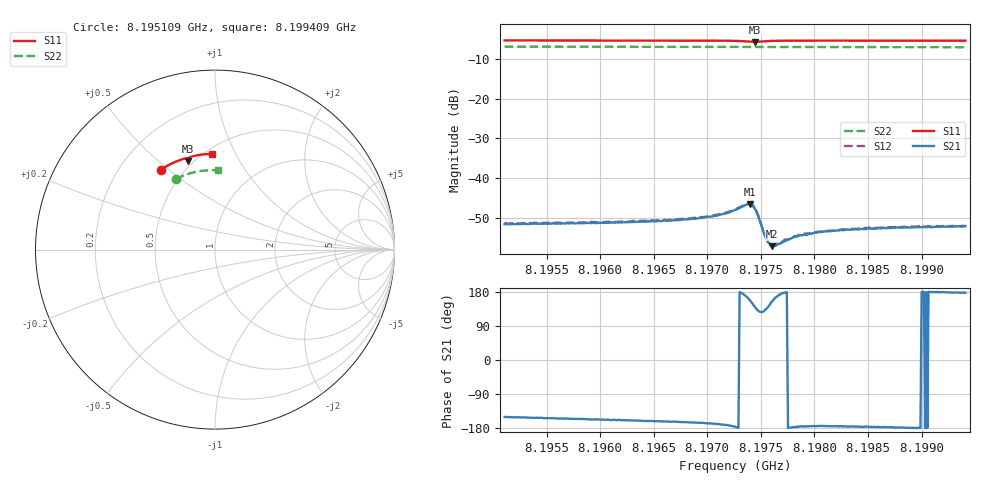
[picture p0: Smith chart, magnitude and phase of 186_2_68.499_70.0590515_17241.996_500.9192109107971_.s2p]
#  HZ  S  RI  R  50.00
! Rohde & Schwarz Vector Network Analyzer
! Rohde-Schwarz,ZNB20-2Port,1311601062101988,3.16
! Created: UTC 3/20/2024, 5:12:03 PM
! freq[Hz]  re:S11  im:S11  re:S21  im:S21  re:S12  im:S12  re:S22  im:S22
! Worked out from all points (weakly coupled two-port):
!   401 points, 8.195109 GHz to 8.199409 GHz, reference 50 ohm
!   highest |S21| = -46.59 dB at 8.197399 GHz (marker M1); lowest = -57.1 dB at 8.197603 GHz (marker M2)
!   lowest |S11| = -5.8 dB at 8.197442 GHz (marker M3), VSWR 3.13, Z = 23.5 + j31.6 ohm
!   |S11| at or under -10 dB: nowhere
!   |S22| runs from -7.1 to -6.9 dB; largest |S21 - S12| = 0.00023
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8.195109e9  -0.3022 0.4448  -0.00229 -0.00131  -0.0024 -0.00123  -0.218 0.393
8.1958293e9  -0.2584 0.471  -0.00246 -0.00112  -0.00258 -0.00104  -0.1813 0.4099
8.1965495e9  -0.2116 0.4929  -0.00276 -0.000911  -0.00281 -0.000822  -0.1433 0.4238
8.1968935e9  -0.1877 0.5017  -0.00298 -0.000773  -0.0031 -0.000678  -0.1246 0.4289
8.197044e9  -0.1765 0.505  -0.00322 -0.000702  -0.00333 -0.000582  -0.1163 0.431
8.197173e9  -0.1658 0.5073  -0.00356 -0.000553  -0.00366 -0.00042  -0.1092 0.4326
8.197259e9  -0.1577 0.5075  -0.00397 -0.000285  -0.004 -9.5e-05  -0.1043 0.4337
8.1973557e9  -0.1476 0.5034  -0.0045 0.000797  -0.00456 0.001  -0.0989 0.4344
8.1973987e9  -0.1456 0.4982  -0.00432 0.0018  -0.00433 0.00203  -0.0966 0.4348
8.1974202e9  -0.1466 0.4953  -0.00389 0.00233  -0.00387 0.0025  -0.0955 0.4349
8.1974417e9  -0.1493 0.4936  -0.00325 0.00264  -0.00319 0.00285  -0.0943 0.435
8.197474e9  -0.1536 0.4947  -0.00217 0.00258  -0.00213 0.00269  -0.0928 0.4355
8.1975277e9  -0.1556 0.5014  -0.00128 0.0016  -0.00123 0.00167  -0.0899 0.4361
8.1975492e9  -0.1547 0.5041  -0.00122 0.00125  -0.0012 0.00128  -0.0888 0.4364
8.1975707e9  -0.1533 0.5063  -0.00119 0.000958  -0.00118 0.00102  -0.0876 0.4367
8.197603e9  -0.1508 0.5091  -0.00125 0.000611  -0.00126 0.000706  -0.0858 0.4371
8.1976567e9  -0.1463 0.5123  -0.00143 0.00029  -0.00146 0.000337  -0.0827 0.4378
8.1978395e9  -0.1315 0.5181  -0.00184 -0.000142  -0.00185 -4.03e-05  -0.0724 0.4391
8.1979792e9  -0.1209 0.5211  -0.002 -0.000184  -0.00206 -0.000123  -0.0645 0.4401
8.1983017e9  -0.0974 0.5259  -0.00225 -0.000183  -0.00226 -0.000135  -0.0464 0.4416
8.1986994e9  -0.069 0.53  -0.00235 -9.02e-05  -0.00241 2.34e-05  -0.0238 0.4428
8.1994089e9  -0.0186 0.5334  -0.0025 0.000101  -0.00248 0.000258  0.0165 0.4419
